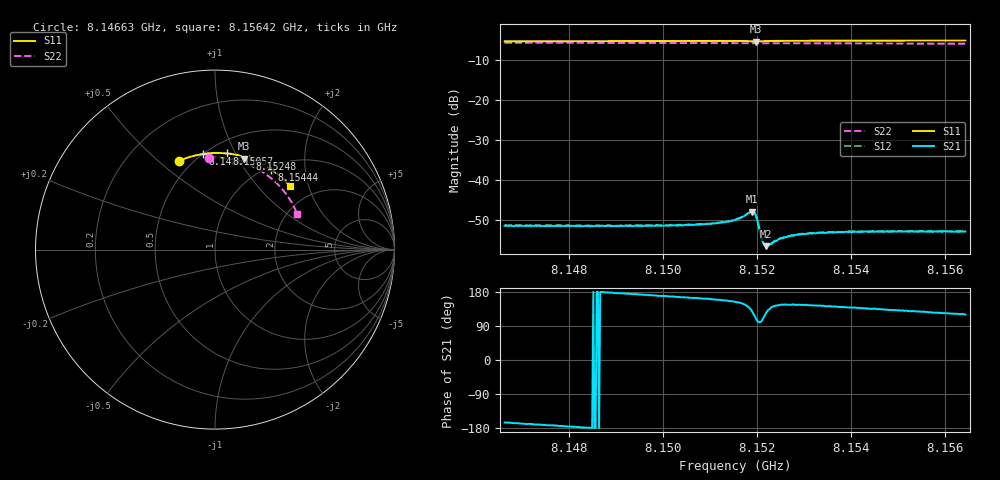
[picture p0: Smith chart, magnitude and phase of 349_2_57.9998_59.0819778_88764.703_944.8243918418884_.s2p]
#  HZ  S  RI  R  50.00
! Rohde & Schwarz Vector Network Analyzer
! Rohde-Schwarz,ZNB20-2Port,1311601062101988,3.16
! Created: UTC 3/21/2024, 1:05:56 AM
! freq[Hz]  re:S11  im:S11  re:S21  im:S21  re:S12  im:S12  re:S22  im:S22
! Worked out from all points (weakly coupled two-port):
!   401 points, 8.14663 GHz to 8.15642 GHz, reference 50 ohm
!   highest |S21| = -48.03 dB at 8.15189 GHz (marker M1); lowest = -56.7 dB at 8.15219 GHz (marker M2)
!   lowest |S11| = -5.5 dB at 8.15197 GHz (marker M3), VSWR 3.26, Z = 37.3 + j52.5 ohm
!   |S11| at or under -10 dB: nowhere
!   |S22| runs from -6.0 to -5.8 dB; largest |S21 - S12| = 0.00013
!   S11 on the Smith chart (normalised r, x): 8.14663 GHz: 0.42, +0.59; 8.14861 GHz: 0.50, +0.75; 8.15057 GHz: 0.61, +0.93; 8.15248 GHz: 0.78, +1.11; 8.15444 GHz: 1.05, +1.33; 8.15642 GHz: 1.50, +1.52
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8.146625e9  -0.2014 0.4936  -0.00255 -0.000686  -0.00263 -0.000663  -0.0349 0.5127
8.148267e9  -0.0922 0.5281  -0.0026 -8.91e-05  -0.00265 -5.67e-05  0.0723 0.5069
8.14861e9  -0.0687 0.5322  -0.00264 7.89e-06  -0.00267 7.16e-05  0.0943 0.5028
8.149908e9  0.0214 0.5385  -0.00262 0.000489  -0.00263 0.00052  0.1746 0.4792
8.150569e9  0.0675 0.5358  -0.00261 0.000735  -0.00261 0.00077  0.2135 0.4619
8.151133e9  0.1067 0.5301  -0.00266 0.00102  -0.00268 0.00109  0.2455 0.445
8.151525e9  0.1346 0.5238  -0.00279 0.00138  -0.0028 0.00143  0.2666 0.4317
8.151892e9  0.1593 0.5094  -0.0024 0.00316  -0.00241 0.00321  0.286 0.4182
8.151941e9  0.1593 0.5067  -0.00169 0.00338  -0.00168 0.00349  0.2883 0.4164
8.151966e9  0.1588 0.5061  -0.00125 0.00336  -0.00119 0.00337  0.2893 0.4155
8.152015e9  0.1584 0.5072  -0.000543 0.00279  -0.000476 0.00284  0.2918 0.4138
8.152064e9  0.16 0.5093  -0.000377 0.00209  -0.00034 0.00214  0.2942 0.4121
8.152113e9  0.1633 0.5109  -0.000505 0.0016  -0.000476 0.00159  0.2968 0.4104
8.152137e9  0.1654 0.5114  -0.000612 0.00143  -0.000573 0.00147  0.298 0.4093
8.152186e9  0.1694 0.5115  -0.000823 0.00122  -0.000816 0.00127  0.3006 0.4074
8.15226e9  0.1755 0.5111  -0.00106 0.0011  -0.00107 0.00112  0.3042 0.4046
8.15248e9  0.1917 0.507  -0.0015 0.00104  -0.00151 0.00105  0.3151 0.3957
8.152799e9  0.2135 0.4994  -0.00167 0.00115  -0.00169 0.00114  0.3305 0.3824
8.153166e9  0.2374 0.4893  -0.00171 0.00123  -0.00174 0.00124  0.3472 0.3665
8.15444e9  0.3143 0.4462  -0.00157 0.00157  -0.00159 0.00161  0.3991 0.3057
8.154808e9  0.3348 0.4314  -0.00149 0.00166  -0.00149 0.00166  0.4122 0.2867
8.156424e9  0.4166 0.3562  -0.00111 0.00194  -0.00115 0.00198  0.4583 0.1976
